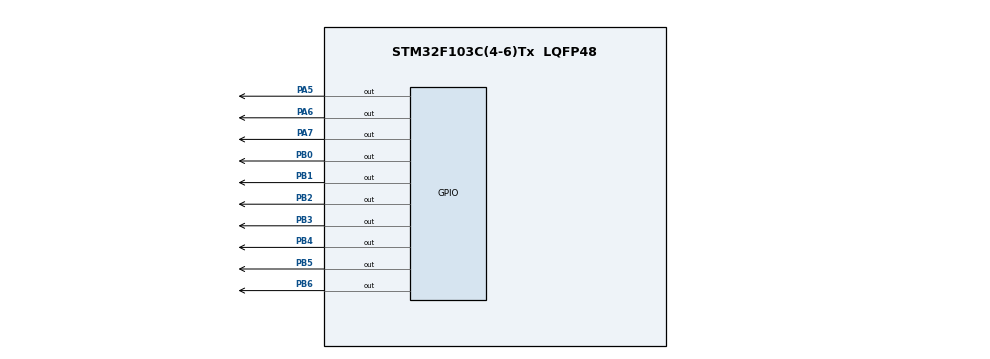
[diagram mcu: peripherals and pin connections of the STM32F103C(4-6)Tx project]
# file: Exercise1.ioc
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Mcu.Family=STM32F1
Mcu.Name=STM32F103C(4-6)Tx
Mcu.Package=LQFP48
NVIC.PriorityGroup=NVIC_PRIORITYGROUP_4
NVIC.TIM2_IRQn=true\:0\:0\:false\:false\:true\:true\:true
PA5.Signal=GPIO_Output
PA6.Signal=GPIO_Output
PA7.Signal=GPIO_Output
PB0.Signal=GPIO_Output
PB1.Signal=GPIO_Output
PB2.Signal=GPIO_Output
PB3.Signal=GPIO_Output
PB4.Signal=GPIO_Output
PB5.Signal=GPIO_Output
PB6.Signal=GPIO_Output
ProjectManager.HeapSize=0x200
ProjectManager.StackSize=0x400
ProjectManager.TargetToolchain=STM32CubeIDE
RCC.APB1Freq_Value=8000000
RCC.APB2Freq_Value=8000000
TIM2.Period=9
TIM2.Prescaler=7999
VP_SYS_VS_ND.Mode=No_Debug
VP_TIM2_VS_ClockSourceINT.Mode=Internal
board=custom

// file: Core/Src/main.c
/* USER CODE BEGIN Header */
/**
  ******************************************************************************
  * @file           : main.c
  * @brief          : Main program body
  ******************************************************************************
  * @attention
  *
  * <h2><center>&copy; Copyright (c) 2021 STMicroelectronics.
  * All rights reserved.</center></h2>
  *
  * This software component is licensed by ST under BSD 3-Clause license,
  * the "License"; You may not use this file except in compliance with the
  * License. You may obtain a copy of the License at:
  *                        opensource.org/licenses/BSD-3-Clause
  *
  ******************************************************************************
  */
/* USER CODE END Header */
#include "main.h"

TIM_HandleTypeDef htim2;

void SystemClock_Config(void);
static void MX_GPIO_Init(void);
static void MX_TIM2_Init(void);

/* USER CODE BEGIN 0 */
//Hàm hiện các giá trị trên led 7 đoạn theo count
void display7SEG(int count){
	HAL_GPIO_WritePin(GPIOB, GPIO_PIN_0, GPIO_PIN_RESET);
	HAL_GPIO_WritePin(GPIOB, GPIO_PIN_1, GPIO_PIN_RESET);
	HAL_GPIO_WritePin(GPIOB, GPIO_PIN_2, GPIO_PIN_RESET);
	HAL_GPIO_WritePin(GPIOB, GPIO_PIN_3, GPIO_PIN_RESET);
	HAL_GPIO_WritePin(GPIOB, GPIO_PIN_4, GPIO_PIN_RESET);
	HAL_GPIO_WritePin(GPIOB, GPIO_PIN_5, GPIO_PIN_RESET);
	HAL_GPIO_WritePin(GPIOB, GPIO_PIN_6, GPIO_PIN_RESET);
	switch(count){
	case 0:
		HAL_GPIO_WritePin(GPIOB, GPIO_PIN_6, GPIO_PIN_SET);
		break;
	case 1:
		HAL_GPIO_WritePin(GPIOB, GPIO_PIN_0, GPIO_PIN_SET);
		HAL_GPIO_WritePin(GPIOB, GPIO_PIN_3, GPIO_PIN_SET);
		HAL_GPIO_WritePin(GPIOB, GPIO_PIN_4, GPIO_PIN_SET);
		HAL_GPIO_WritePin(GPIOB, GPIO_PIN_5, GPIO_PIN_SET);
		HAL_GPIO_WritePin(GPIOB, GPIO_PIN_6, GPIO_PIN_SET);
		break;
	case 2:
		HAL_GPIO_WritePin(GPIOB, GPIO_PIN_2, GPIO_PIN_SET);
		HAL_GPIO_WritePin(GPIOB, GPIO_PIN_5, GPIO_PIN_SET);
		break;
	case 3:
		HAL_GPIO_WritePin(GPIOB, GPIO_PIN_4, GPIO_PIN_SET);
		HAL_GPIO_WritePin(GPIOB, GPIO_PIN_5, GPIO_PIN_SET);
		break;
	case 4:
		HAL_GPIO_WritePin(GPIOB, GPIO_PIN_0, GPIO_PIN_SET);
		HAL_GPIO_WritePin(GPIOB, GPIO_PIN_3, GPIO_PIN_SET);
		HAL_GPIO_WritePin(GPIOB, GPIO_PIN_4, GPIO_PIN_SET);
		break;
	case 5:
		HAL_GPIO_WritePin(GPIOB, GPIO_PIN_1, GPIO_PIN_SET);
		HAL_GPIO_WritePin(GPIOB, GPIO_PIN_4, GPIO_PIN_SET);
		break;
	case 6:
		HAL_GPIO_WritePin(GPIOB, GPIO_PIN_1, GPIO_PIN_SET);
		break;
	case 7:
		HAL_GPIO_WritePin(GPIOB, GPIO_PIN_3, GPIO_PIN_SET);
		HAL_GPIO_WritePin(GPIOB, GPIO_PIN_4, GPIO_PIN_SET);
		HAL_GPIO_WritePin(GPIOB, GPIO_PIN_5, GPIO_PIN_SET);
		HAL_GPIO_WritePin(GPIOB, GPIO_PIN_6, GPIO_PIN_SET);
		break;
	case 8:
		break;
	case 9:
		HAL_GPIO_WritePin(GPIOB, GPIO_PIN_4, GPIO_PIN_SET);
		break;
	}
}
/* USER CODE END 0 */

int main(void)
{

  /* MCU Configuration--------------------------------------------------------*/

  /* Reset of all peripherals, Initializes the Flash interface and the Systick. */
  HAL_Init();

  /* Configure the system clock */
  SystemClock_Config();

  /* Initialize all configured peripherals */
  MX_GPIO_Init();
  MX_TIM2_Init();
  /* USER CODE BEGIN 2 */
  HAL_TIM_Base_Start_IT(&htim2);
  /* USER CODE END 2 */

  /* Infinite loop */
  while (1)
  {

  }
}

void SystemClock_Config(void)
{
  RCC_OscInitTypeDef RCC_OscInitStruct = {0};
  RCC_ClkInitTypeDef RCC_ClkInitStruct = {0};

  /** Initializes the RCC Oscillators according to the specified parameters
  * in the RCC_OscInitTypeDef structure.
  */
  RCC_OscInitStruct.OscillatorType = RCC_OSCILLATORTYPE_HSI;
  RCC_OscInitStruct.HSIState = RCC_HSI_ON;
  RCC_OscInitStruct.HSICalibrationValue = RCC_HSICALIBRATION_DEFAULT;
  RCC_OscInitStruct.PLL.PLLState = RCC_PLL_NONE;
  if (HAL_RCC_OscConfig(&RCC_OscInitStruct) != HAL_OK)
  {
    Error_Handler();
  }
  /** Initializes the CPU, AHB and APB buses clocks
  */
  RCC_ClkInitStruct.ClockType = RCC_CLOCKTYPE_HCLK|RCC_CLOCKTYPE_SYSCLK
                              |RCC_CLOCKTYPE_PCLK1|RCC_CLOCKTYPE_PCLK2;
  RCC_ClkInitStruct.SYSCLKSource = RCC_SYSCLKSOURCE_HSI;
  RCC_ClkInitStruct.AHBCLKDivider = RCC_SYSCLK_DIV1;
  RCC_ClkInitStruct.APB1CLKDivider = RCC_HCLK_DIV1;
  RCC_ClkInitStruct.APB2CLKDivider = RCC_HCLK_DIV1;

  if (HAL_RCC_ClockConfig(&RCC_ClkInitStruct, FLASH_LATENCY_0) != HAL_OK)
  {
    Error_Handler();
  }
}

static void MX_TIM2_Init(void)
{

  TIM_ClockConfigTypeDef sClockSourceConfig = {0};
  TIM_MasterConfigTypeDef sMasterConfig = {0};

  htim2.Instance = TIM2;
  htim2.Init.Prescaler = 7999;
  htim2.Init.CounterMode = TIM_COUNTERMODE_UP;
  htim2.Init.Period = 9;
  htim2.Init.ClockDivision = TIM_CLOCKDIVISION_DIV1;
  htim2.Init.AutoReloadPreload = TIM_AUTORELOAD_PRELOAD_DISABLE;
  if (HAL_TIM_Base_Init(&htim2) != HAL_OK)
  {
    Error_Handler();
  }
  sClockSourceConfig.ClockSource = TIM_CLOCKSOURCE_INTERNAL;
  if (HAL_TIM_ConfigClockSource(&htim2, &sClockSourceConfig) != HAL_OK)
  {
    Error_Handler();
  }
  sMasterConfig.MasterOutputTrigger = TIM_TRGO_RESET;
  sMasterConfig.MasterSlaveMode = TIM_MASTERSLAVEMODE_DISABLE;
  if (HAL_TIMEx_MasterConfigSynchronization(&htim2, &sMasterConfig) != HAL_OK)
  {
    Error_Handler();
  }

}

static void MX_GPIO_Init(void)
{
  GPIO_InitTypeDef GPIO_InitStruct = {0};

  /* GPIO Ports Clock Enable */
  __HAL_RCC_GPIOA_CLK_ENABLE();
  __HAL_RCC_GPIOB_CLK_ENABLE();

  /*Configure GPIO pin Output Level */
  HAL_GPIO_WritePin(GPIOA, GPIO_PIN_5|GPIO_PIN_6|GPIO_PIN_7, GPIO_PIN_RESET);

  /*Configure GPIO pin Output Level */
  HAL_GPIO_WritePin(GPIOB, GPIO_PIN_0|GPIO_PIN_1|GPIO_PIN_2|GPIO_PIN_3
                          |GPIO_PIN_4|GPIO_PIN_5|GPIO_PIN_6, GPIO_PIN_RESET);

  /*Configure GPIO pins : PA5 PA6 PA7 */
  GPIO_InitStruct.Pin = GPIO_PIN_5|GPIO_PIN_6|GPIO_PIN_7;
  GPIO_InitStruct.Mode = GPIO_MODE_OUTPUT_PP;
  GPIO_InitStruct.Pull = GPIO_NOPULL;
  GPIO_InitStruct.Speed = GPIO_SPEED_FREQ_LOW;
  HAL_GPIO_Init(GPIOA, &GPIO_InitStruct);

  /*Configure GPIO pins : PB0 PB1 PB2 PB3
                           PB4 PB5 PB6 */
  GPIO_InitStruct.Pin = GPIO_PIN_0|GPIO_PIN_1|GPIO_PIN_2|GPIO_PIN_3
                          |GPIO_PIN_4|GPIO_PIN_5|GPIO_PIN_6;
  GPIO_InitStruct.Mode = GPIO_MODE_OUTPUT_PP;
  GPIO_InitStruct.Pull = GPIO_NOPULL;
  GPIO_InitStruct.Speed = GPIO_SPEED_FREQ_LOW;
  HAL_GPIO_Init(GPIOB, &GPIO_InitStruct);

}

/* USER CODE BEGIN 4 */
//Biến đếm số lần interupt
int counter = 0;
//Biến chuyển từ led thứ 1 qua led thứ 2 và ngược lại
int flag = 0;
void HAL_TIM_PeriodElapsedCallback(TIM_HandleTypeDef *htim){
	counter--;
	if(counter <= 0){
		counter = 50; //1 counter = 10ms -> 50counter = 0.5s
		HAL_GPIO_TogglePin(GPIOA, GPIO_PIN_5); //Nhấp nháy LED đơn
		if(flag){
//			Chọn LED 2 sáng
			HAL_GPIO_WritePin(GPIOA, GPIO_PIN_6, 1);
			HAL_GPIO_WritePin(GPIOA, GPIO_PIN_7, 0);
//			Chuyển trạng thái cho led còn lại
			flag = 0;
//			Hiển thị 2 trên LED 7 đoạn
			display7SEG(2);
		}
		else {
//			Chọn LED 1 sáng
			HAL_GPIO_WritePin(GPIOA, GPIO_PIN_6, 0);
			HAL_GPIO_WritePin(GPIOA, GPIO_PIN_7, 1);
//			Chuyển trạng thái cho led còn lại
			flag = 1;
//			Hiển thị 2 trên LED 7 đoạn
			display7SEG(1);
		}
	}
}
/* USER CODE END 4 */

void Error_Handler(void)
{
  __disable_irq();
  while (1)
  {
  }
}

/************************ (C) COPYRIGHT STMicroelectronics *****END OF FILE****/
